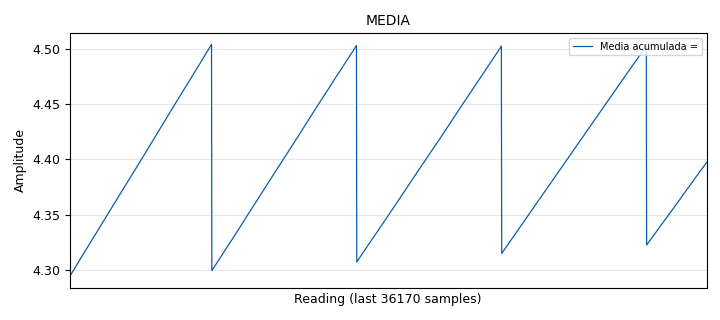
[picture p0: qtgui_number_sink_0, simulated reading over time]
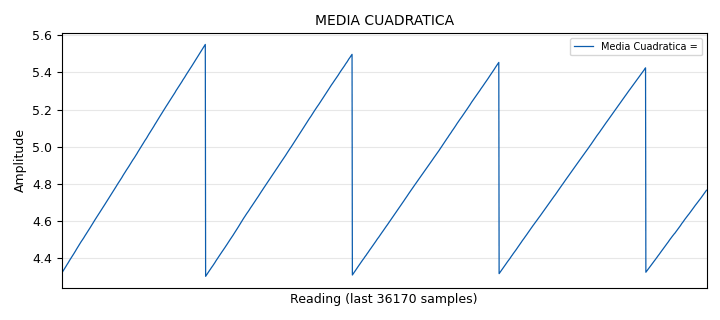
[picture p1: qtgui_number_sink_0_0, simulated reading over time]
options:
  parameters:
    author: 2174241_C1
    copyright: Lab1_Comu2_C1_2174241
    description: Practica1_Comu2_C1
    generate_options: qt_gui
    id: practica1
    output_language: python
    title: Lab1_Comu2_C1_2174241
  states: {}

blocks:
- name: samp_rate
  id: variable
  parameters:
    value: '32000'
  states: {}
- name: analog_noise_source_x_0
  id: analog_noise_source_x
  parameters:
    amp: '1'
    noise_type: analog.GR_GAUSSIAN
    seed: '0'
    type: float
  states: {}
- name: blocks_add_xx_0
  id: blocks_add_xx
  parameters:
    type: float
  states: {}
- name: blocks_vector_source_x_0
  id: blocks_vector_source_x
  parameters:
    repeat: 'True'
    type: float
    vector: range (1, 9)
  states: {}
- name: blocks_vector_source_x_0_0
  id: blocks_vector_source_x
  parameters:
    repeat: 'True'
    type: float
    vector: (1, 2, -1)
  states: {state: disabled}
- name: epy_block_0
  id: epy_block
  parameters:
    _source_code: |
      import numpy as np
      from gnuradio import gr

      class blk (gr. sync_block ):

      	def __init__ ( self ) : # only default arguments here
      		gr. sync_block . __init__ (
      			self ,
      			name ='e_Acum', # will show up in GRC
      			in_sig =[np.float32],
      			out_sig =[np.float32]
      		)
      		
      	def work (self , input_items , output_items ):
      		x = input_items [0] # Senial de entrada .
      		y0 = output_items [0] # Senial acumulada
      		y0 [:] = np.cumsum (x)
      		#y0 [:] = len(x)
      		return len (y0)
    alias: Bloque Acumulador
  states: {state: disabled}
- name: epy_block_1
  id: epy_block
  parameters:
    _source_code: |
      import numpy as np
      from gnuradio import gr

      class blk (gr. sync_block ):

      	def __init__ ( self ) : # only default arguments here
      		gr. sync_block . __init__ (
      			self,
      			name ='e_Diff', # will show up in GRC
      			in_sig =[np.float32],
      			out_sig =[np.float32]
      		)
      		self.acum_anterior = 0
      		
      	
      	def work (self , input_items , output_items ):
      		x = input_items [0] # Senial de entrada .
      		y0 = output_items [0] # Senial acumulada diferencial

      		N = len (x)
      		diff = np.cumsum (x) - self . acum_anterior
      		self .acum_anterior = diff [N -1]
      		y0 [:] = diff
      		return len (y0)
  states: {state: disabled}
- name: epy_block_2
  id: epy_block
  parameters:
    _source_code: |
      import numpy as np
      from gnuradio import gr

      class blk (gr. sync_block ):
      	
      	def __init__ ( self ) : # only default arguments here
      		gr. sync_block . __init__ (
      			self ,
      			name ='Promedio de tiempos', # will show up in GRC
      			in_sig =[np. float32],
      			out_sig =[np. float32,np. float32 ,np. float32 ,np. float32 ,np. float32 ]
      		)
      		self . acum_anterior = 0
      		self . Ntotales = 0
      		self . acum_anterior1 = 0
      		self . acum_anterior2 = 0

      	def work (self , input_items , output_items ):
      		x = input_items [0] # Senial de entrada .
      		y0 = output_items [0] # Promedio de la senial
      		y1 = output_items [1] # Media de la senial
      		y2 = output_items [2] # RMS de la senial
      		y3 = output_items [3] # Potencia promedio de la senial
      		y4 = output_items [4] # Desviacion estandar de la senial
      	
      		# Calculo del promedio
      		N = len (x)
      		self . Ntotales = self . Ntotales + N
      		acumulado = self . acum_anterior + np. cumsum (x)
      		self . acum_anterior = acumulado [N -1]
      		y0 [:]= acumulado / self . Ntotales

      		# Calculo de la media cuadratica
      		x2=np. multiply (x,x)
      		acumulado1 = self . acum_anterior1 + np. cumsum (x2)
      		self . acum_anterior1 = acumulado [N -1]
      		y1 [:] = acumulado1 / self . Ntotales
      		
      		# Calculo de la RMS
      		y2 [:] = np. sqrt (y1)
      		
      		# Calculo de la potencia promedio
      		y3 [:] = np. multiply (y2 ,y2)
      		
      		# Calculo de la desviacion estandar
      		x3 = np. multiply (x-y0 ,x-y0)
      		acumulado2 = self . acum_anterior2 + np. cumsum (x3)
      		self . acum_anterior2 = acumulado2 [N -1]
      		y4 [:] = np. sqrt ( acumulado2 / self . Ntotales )

      		return len (x)
  states: {}
- name: qtgui_number_sink_0
  id: qtgui_number_sink
  parameters:
    alias: Media
    color1: ("blue", "red")
    graph_type: qtgui.NUM_GRAPH_HORIZ
    label1: 'Media acumulada = '
    max: '5'
    min: '-5'
    name: MEDIA
    type: float
  states: {}
- name: qtgui_number_sink_0_0
  id: qtgui_number_sink
  parameters:
    alias: Media Cuadratica
    color1: ("blue", "red")
    graph_type: qtgui.NUM_GRAPH_HORIZ
    label1: 'Media Cuadratica = '
    max: '5'
    min: '-5'
    name: MEDIA CUADRATICA
    type: float
  states: {}
- name: qtgui_number_sink_0_1
  id: qtgui_number_sink
  parameters:
    alias: RMS
    color1: ("blue", "red")
    graph_type: qtgui.NUM_GRAPH_HORIZ
    label1: 'RMS = '
    max: '5'
    min: '-5'
    name: RMS
    type: float
  states: {}
- name: qtgui_number_sink_0_2
  id: qtgui_number_sink
  parameters:
    alias: Potencia Promedio
    color1: ("blue", "red")
    graph_type: qtgui.NUM_GRAPH_HORIZ
    label1: 'Potencia promedio = '
    max: '5'
    min: '-5'
    name: POTENCIA PROMEDIO
    type: float
  states: {}
- name: qtgui_number_sink_0_3
  id: qtgui_number_sink
  parameters:
    alias: Desviacion Estandar
    color1: ("blue", "red")
    graph_type: qtgui.NUM_GRAPH_HORIZ
    label1: 'Desviacion estandar = '
    max: '5'
    min: '-5'
    name: DESVIACIÒN ESTANDAR
    type: float
  states: {}

connections:
- [analog_noise_source_x_0, '0', blocks_add_xx_0, '1']
- [blocks_add_xx_0, '0', epy_block_2, '0']
- [blocks_vector_source_x_0, '0', blocks_add_xx_0, '0']
- [blocks_vector_source_x_0_0, '0', blocks_add_xx_0, '0']
- [epy_block_2, '0', qtgui_number_sink_0, '0']
- [epy_block_2, '1', qtgui_number_sink_0_0, '0']
- [epy_block_2, '2', qtgui_number_sink_0_1, '0']
- [epy_block_2, '3', qtgui_number_sink_0_2, '0']
- [epy_block_2, '4', qtgui_number_sink_0_3, '0']

metadata:
  file_format: 1
  grc_version: 3.9.8.0
